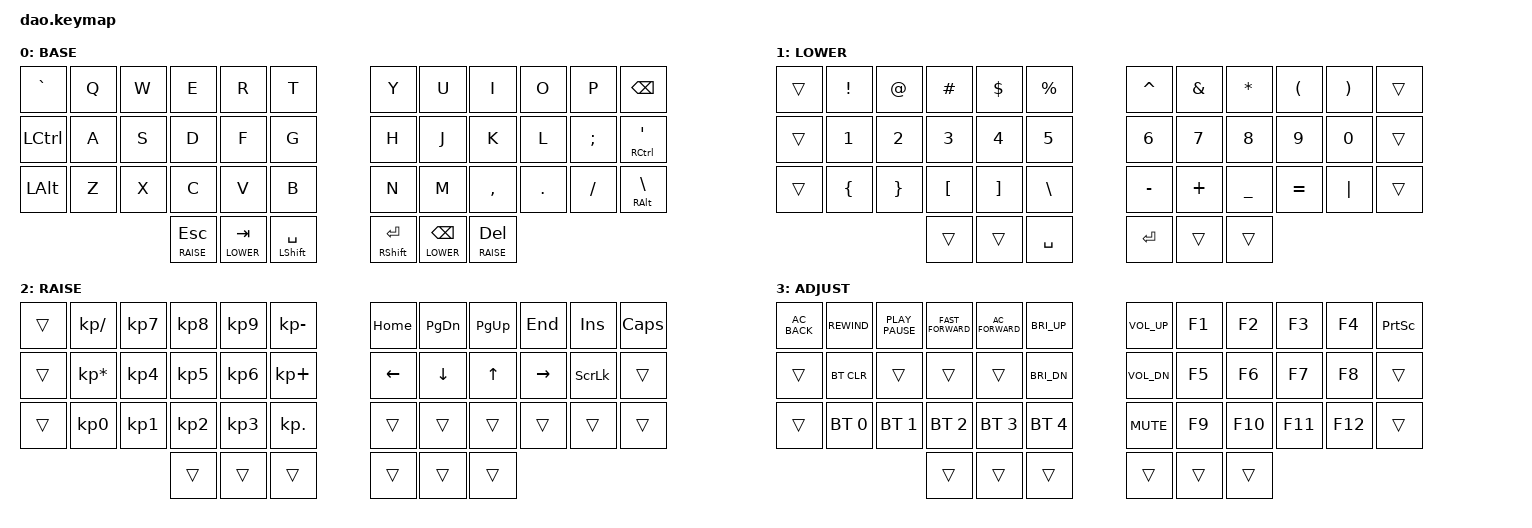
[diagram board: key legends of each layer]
/*
 * Dao42 keymap ported from Uri2001/zmk-config Corne layout.
 * Layers: BASE / LOWER / RAISE / ADJUST.
 * RU/EN переключение — на уровне ОС (Alt+Shift) через combo J+K.
 */

#include <behaviors.dtsi>
#include <dt-bindings/zmk/bt.h>
#include <dt-bindings/zmk/keys.h>

#define BASE   0
#define LOWER  1
#define RAISE  2
#define ADJUST 3

&lt {
    quick-tap-ms = <100>;
    tapping-term-ms = <180>;
    flavor = "tap-preferred";
};

&mt {
    quick-tap-ms = <100>;
    tapping-term-ms = <180>;
    flavor = "tap-preferred";
};

/ {
    chosen {
        zmk,physical_layout = &dao_crkbd_layout;
        // zmk,physical_layout = &dao_full_layout;
    };
};

/ {
    macros {
        lang_toggle: lang_toggle {
            compatible = "zmk,behavior-macro";
            #binding-cells = <0>;
            wait-ms = <20>;
            tap-ms = <20>;
            bindings =
                <&macro_press>,
                <&kp LALT>,
                <&macro_tap>,
                <&kp LSHFT>,
                <&macro_release>,
                <&kp LALT>;
        };
    };

    combos {
        compatible = "zmk,combos";

        combo_win_qw {
            timeout-ms = <40>;
            key-positions = <1 2>;      /* Q + W */
            bindings = <&kp LGUI>;
        };

        combo_caps_word_as {
            timeout-ms = <40>;
            key-positions = <13 14>;    /* A + S */
            bindings = <&caps_word>;
        };

        combo_lang_jk {
            timeout-ms = <45>;
            key-positions = <19 20>;    /* J + K */
            bindings = <&lang_toggle>;
        };
    };

    conditional_layers {
        compatible = "zmk,conditional-layers";

        tri_layer {
            if-layers = <LOWER RAISE>;
            then-layer = <ADJUST>;
        };
    };

    keymap {
        compatible = "zmk,keymap";

        base_layer {
            display-name = "BASE";
            bindings = <
&kp GRAVE  &kp Q  &kp W  &kp E      &kp R          &kp T              &kp Y            &kp U           &kp I      &kp O    &kp P     &kp BSPC
&kp LCTRL  &kp A  &kp S  &kp D      &kp F          &kp G              &kp H            &kp J           &kp K      &kp L    &kp SEMI  &mt RIGHT_CONTROL SQT
&kp LALT   &kp Z  &kp X  &kp C      &kp V          &kp B              &kp N            &kp M           &kp COMMA  &kp DOT  &kp FSLH  &mt RALT BSLH
                         &lt RAISE ESC  &lt LOWER TAB  &mt LSHFT SPACE    &mt RSHFT ENTER  &lt LOWER BSPC  &lt RAISE DEL
            >;
        };

        lower_layer {
            display-name = "LOWER";
            bindings = <
&trans  &kp EXCL        &kp AT           &kp HASH  &kp DLLR           &kp PRCNT    &kp CARET  &kp AMPS  &kp STAR   &kp LPAR   &kp RPAR  &trans
&trans  &kp N1          &kp N2           &kp N3    &kp N4             &kp N5       &kp N6     &kp N7    &kp N8     &kp N9     &kp N0    &trans
&trans  &kp LEFT_BRACE  &kp RIGHT_BRACE  &kp LBKT  &kp RIGHT_BRACKET  &kp BSLH     &kp MINUS  &kp PLUS  &kp UNDER  &kp EQUAL  &kp PIPE  &trans
                                         &trans    &trans             &kp SPACE    &kp ENTER  &trans    &trans
            >;
        };

        raise_layer {
            display-name = "RAISE";
            bindings = <
&trans  &kp KP_DIVIDE    &kp KP_N7  &kp KP_N8  &kp KP_N9  &kp KP_MINUS    &kp HOME        &kp PG_DN       &kp PG_UP   &kp END    &kp INSERT      &kp CAPSLOCK
&trans  &kp KP_MULTIPLY  &kp KP_N4  &kp KP_N5  &kp KP_N6  &kp KP_PLUS     &kp LEFT_ARROW  &kp DOWN_ARROW  &kp UP      &kp RIGHT  &kp SCROLLLOCK  &trans
&trans  &kp KP_N0        &kp KP_N1  &kp KP_N2  &kp KP_N3  &kp KP_DOT      &trans          &trans          &trans      &trans     &trans          &trans
                                    &trans     &trans     &trans          &trans          &trans          &trans
            >;
        };

        adjust_layer {
            display-name = "ADJUST";
            bindings = <
&kp C_AC_BACK  &kp C_REWIND  &kp K_PLAY_PAUSE  &kp C_FAST_FORWARD  &kp C_AC_FORWARD  &kp C_BRI_UP    &kp C_VOLUME_UP  &kp F1  &kp F2   &kp F3   &kp F4   &kp PSCRN
&trans         &bt BT_CLR    &trans            &trans              &trans            &kp C_BRI_DN    &kp C_VOL_DN     &kp F5  &kp F6   &kp F7   &kp F8   &trans
&trans         &bt BT_SEL 0  &bt BT_SEL 1      &bt BT_SEL 2        &bt BT_SEL 3      &bt BT_SEL 4    &kp C_MUTE       &kp F9  &kp F10  &kp F11  &kp F12  &trans
                                               &trans              &trans            &trans          &trans           &trans  &trans
            >;
        };
    };
};
